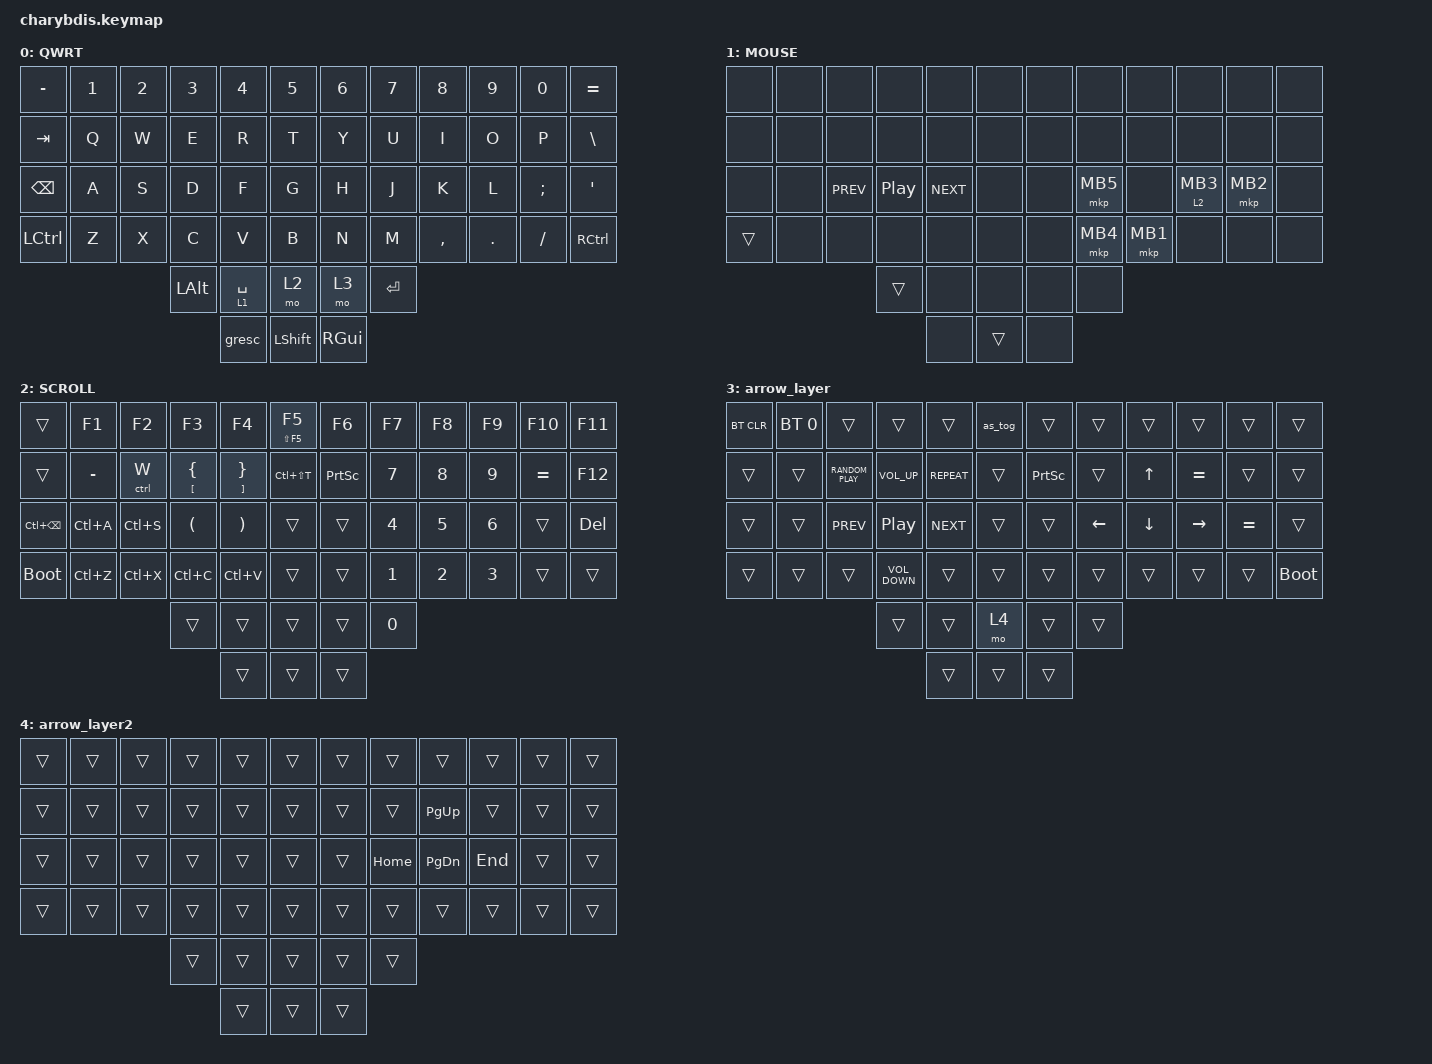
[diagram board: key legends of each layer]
#define DEFAULT 0
#define MOUSE   1
#define SCROLL  2
#define ARROW   3
#define ARROW2  4
#define KEYS_EXCLUDED_FROM_DISABLING_MOUSE_LAYER 22 31 33 34 43 44 49

#include <dt-bindings/zmk/mouse.h>
#include <zephyr/dt-bindings/input/input-event-codes.h>
#include <dt-bindings/zmk/input_transform.h>
#include <input/processors.dtsi>
#include <behaviors/input_gestures_accel.dtsi>
#include <behaviors.dtsi>
#include <dt-bindings/zmk/bt.h>
#include <dt-bindings/zmk/keys.h>
#include <dt-bindings/zmk/pointing.h>

// Pointer acceleration (oleksandrmaslov/zmk-pointing-acceleration).
// Speeds are raw sensor counts/sec at cpi 1000; factors are x1000.

&pointer_accel {
    input-type = <INPUT_EV_REL>;
    track-remainders;
    min-factor = <450>;
    max-factor = <2500>;
    speed-threshold = <1200>;
    speed-max = <6000>;
    acceleration-exponent = <2>;
};

&trackball_listener {
    input-processors = <
        &pointer_accel
        &zip_x_scaler 11 10
        &zip_y_scaler 9 10
        &zip_temp_layer MOUSE 400
    >;

    scroller: scroller {
        layers = <SCROLL>;
        input-processors = <
            &zip_xy_scaler 1 15
            &zip_xy_to_scroll_mapper
            &zip_scroll_transform (INPUT_TRANSFORM_Y_INVERT)
        >;
    };
};

&lt { tapping-term-ms = <170>; };

/ {
    chosen { zmk,matrix_transform = &default_transform; };
};

/ {
    combos {
        compatible = "zmk,combos";

        combo_esc {
            timeout-ms = <50>;
            key-positions = <0 1>;
            bindings = <&kp ESC>;
        };

        csharp_lambda {
            bindings = <&csharp_lambda>;
            key-positions = <48 22>;
            layers = <0>;
        };

        tilde {
            bindings = <&kp TILDE>;
            key-positions = <11 10>;
        };

        parameter_info {
            bindings = <&pi>;
            key-positions = <36 54>;
        };
    };

    macros {
        csharp_lambda: csharp_lambda {
            compatible = "zmk,behavior-macro";
            #binding-cells = <0>;
            bindings = <&kp SPACE &kp EQUAL &kp GT &kp SPACE>;
            label = "CSHARP_LAMBDA";
        };

        pi: parameter_info {
            compatible = "zmk,behavior-macro";
            #binding-cells = <0>;
            bindings = <&kp LS(LC(SPACE))>;
            label = "PARAMETER_INFO";
        };

        ctrl: macro_ctrl_kp {
            compatible = "zmk,behavior-macro-one-param";
            #binding-cells = <1>;
            bindings =
                <&macro_press>,
                <&kp LCTRL &macro_param_1to1>,
                <&macro_tap>,
                <&kp MACRO_PLACEHOLDER>,
                <&macro_release>,
                <&kp LCTRL>;

            label = "MACRO_CTRL_KP";
        };
    };

    behaviors {
        lmt: layer_mouse_tap {
            compatible = "zmk,behavior-hold-tap";
            label = "layer mouse tap";
            bindings = <&mo>, <&mkp>;

            #binding-cells = <2>;
            tapping-term-ms = <170>;
        };

        as_tog: auto_shift_toggle {
            compatible = "zmk,behavior-auto-shift";
            #binding-cells = <0>;
            tapping-term-ms = <100>;
            enabled-on-boot;
        };
    };

    zip_temp_layer: zip_temp_layer {
        compatible = "zmk,input-processor-temp-layer";
        #input-processor-cells = <2>;
        require-prior-idle-ms = <500>;
        excluded-positions = <KEYS_EXCLUDED_FROM_DISABLING_MOUSE_LAYER>;
    };

    keymap {
        compatible = "zmk,keymap";

        default_layer {
            bindings = <
&kp MINUS      &kp N1  &kp N2  &kp N3        &kp N4       &kp N5        &kp N6         &kp N7     &kp N8     &kp N9   &kp N0    &kp EQUAL
&kp TAB        &kp Q   &kp W   &kp E         &kp R        &kp T         &kp Y          &kp U      &kp I      &kp O    &kp P     &kp BACKSLASH
&kp BACKSPACE  &kp A   &kp S   &kp D         &kp F        &kp G         &kp H          &kp J      &kp K      &kp L    &kp SEMI  &kp APOS
&kp LCTRL      &kp Z   &kp X   &kp C         &kp V        &kp B         &kp N          &kp M      &kp COMMA  &kp DOT  &kp FSLH  &kp RCTRL
                               &kp LEFT_ALT  &lt 1 SPACE  &mo 2         &mo 3          &kp ENTER
                                             &gresc       &kp LSHIFT    &kp RIGHT_GUI
            >;

            label = "QWRT";
        };

        mouse_layer {
            bindings = <
&none   &none  &none       &none     &none       &none     &none  &none     &none     &none       &none     &none
&none   &none  &none       &none     &none       &none     &none  &none     &none     &none       &none     &none
&none   &none  &kp C_PREV  &kp C_PP  &kp C_NEXT  &none     &none  &mkp MB5  &none     &lmt 2 MB3  &mkp MB2  &none
&trans  &none  &none       &none     &none       &none     &none  &mkp MB4  &mkp MB1  &none       &none     &none
                           &trans    &none       &none     &none  &none
                                     &none       &trans    &none
            >;

            label = "MOUSE";
        };

        scroll_layer {
            bindings = <
&trans             &kp F1     &kp F2     &kp F3                       &kp F4                         &mt LS(F5) F5    &kp F6     &kp F7  &kp F8  &kp F9  &kp F10    &kp F11
&trans             &kp MINUS  &ctrl W    &mt LEFT_BRACKET LEFT_BRACE  &mt RIGHT_BRACKET RIGHT_BRACE  &kp LC(LS(T))    &kp PSCRN  &kp N7  &kp N8  &kp N9  &kp EQUAL  &kp F12
&kp LC(BACKSPACE)  &kp LC(A)  &kp LC(S)  &kp LEFT_PARENTHESIS         &kp RIGHT_PARENTHESIS          &trans           &trans     &kp N4  &kp N5  &kp N6  &trans     &kp DEL
&bootloader        &kp LC(Z)  &kp LC(X)  &kp LC(C)                    &kp LC(V)                      &trans           &trans     &kp N1  &kp N2  &kp N3  &trans     &trans
                                         &trans                       &trans                         &trans           &trans     &kp N0
                                                                      &trans                         &trans           &trans
            >;

            label = "SCROLL";
        };

        arrow_layer {
            bindings = <
&bt BT_CLR  &bt BT_SEL 0  &trans             &trans             &trans        &as_tog    &trans     &trans    &trans    &trans     &trans     &trans
&trans      &trans        &kp C_RANDOM_PLAY  &kp C_VOLUME_UP    &kp C_REPEAT  &trans     &kp PSCRN  &trans    &kp UP    &kp EQUAL  &trans     &trans
&trans      &trans        &kp C_PREV         &kp C_PP           &kp C_NEXT    &trans     &trans     &kp LEFT  &kp DOWN  &kp RIGHT  &kp EQUAL  &trans
&trans      &trans        &trans             &kp C_VOLUME_DOWN  &trans        &trans     &trans     &trans    &trans    &trans     &trans     &bootloader
                                             &trans             &trans        &mo 4      &trans     &trans
                                                                &trans        &trans     &trans
            >;
        };

        arrow_layer2 {
            bindings = <
&trans  &trans  &trans  &trans  &trans  &trans    &trans  &trans    &trans     &trans   &trans  &trans
&trans  &trans  &trans  &trans  &trans  &trans    &trans  &trans    &kp PG_UP  &trans   &trans  &trans
&trans  &trans  &trans  &trans  &trans  &trans    &trans  &kp HOME  &kp PG_DN  &kp END  &trans  &trans
&trans  &trans  &trans  &trans  &trans  &trans    &trans  &trans    &trans     &trans   &trans  &trans
                        &trans  &trans  &trans    &trans  &trans
                                &trans  &trans    &trans
            >;
        };
    };

    conditional_layers { compatible = "zmk,conditional-layers"; };
};
